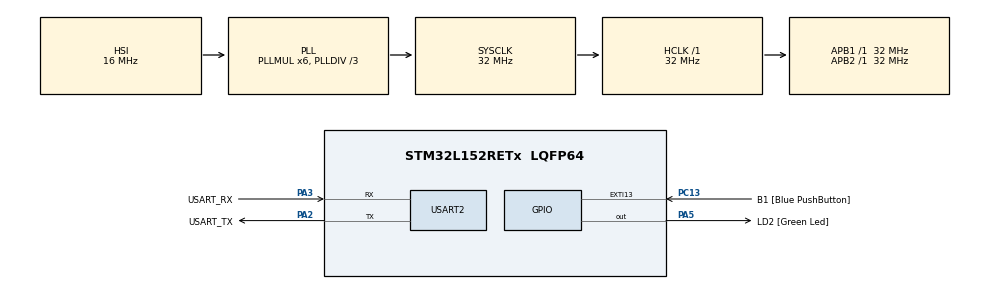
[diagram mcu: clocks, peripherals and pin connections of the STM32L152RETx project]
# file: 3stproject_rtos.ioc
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FREERTOS.Tasks01=defaultTask,0,128,StartDefaultTask,Default,NULL,Dynamic,NULL,NULL
Mcu.Family=STM32L1
Mcu.Name=STM32L152RETx
Mcu.Package=LQFP64
NVIC.PriorityGroup=NVIC_PRIORITYGROUP_4
NVIC.TIM6_IRQn=true\:15\:0\:false\:false\:true\:false\:false\:true\:true
NVIC.TimeBase=TIM6_IRQn
NVIC.TimeBaseIP=TIM6
PA13.GPIO_Label=TMS
PA13.Mode=Serial_Wire
PA13.Signal=SYS_JTMS-SWDIO
PA14.GPIO_Label=TCK
PA14.Mode=Serial_Wire
PA14.Signal=SYS_JTCK-SWCLK
PA2.GPIO_Label=USART_TX
PA2.Mode=Asynchronous
PA2.Signal=USART2_TX
PA3.GPIO_Label=USART_RX
PA3.Mode=Asynchronous
PA3.Signal=USART2_RX
PA5.GPIO_Label=LD2 [Green Led]
PA5.Signal=GPIO_Output
PB3.GPIO_Label=SWO
PB3.Signal=SYS_JTDO-TRACESWO
PC13-WKUP2.GPIO_Label=B1 [Blue PushButton]
PC13-WKUP2.Signal=GPXTI13
PC14-OSC32_IN.Mode=LSE-External-Oscillator
PC14-OSC32_IN.Signal=RCC_OSC32_IN
PC15-OSC32_OUT.Mode=LSE-External-Oscillator
PC15-OSC32_OUT.Signal=RCC_OSC32_OUT
PH0-OSC_IN.Mode=HSE-External-Clock-Source
PH0-OSC_IN.Signal=RCC_OSC_IN
PH1-OSC_OUT.Signal=RCC_OSC_OUT
ProjectManager.HeapSize=0x200
ProjectManager.StackSize=0x400
ProjectManager.TargetToolchain=STM32CubeIDE
RCC.48MHZClocksFreq_Value=48000000
RCC.AHBFreq_Value=32000000
RCC.APB1Freq_Value=32000000
RCC.APB1TimFreq_Value=32000000
RCC.APB2Freq_Value=32000000
RCC.APB2TimFreq_Value=32000000
RCC.HCLKFreq_Value=32000000
RCC.HSE_VALUE=8000000
RCC.HSI_VALUE=16000000
RCC.MSI_VALUE=2097000
RCC.PLLDIV=RCC_PLL_DIV3
RCC.PLLMUL=RCC_PLL_MUL6
RCC.RTCClockSelectionVirtual=RCC_RTCCLKSOURCE_LSE
RCC.SYSCLKFreq_VALUE=32000000
RCC.SYSCLKSource=RCC_SYSCLKSOURCE_PLLCLK
RCC.USBOutput=48000000
RCC.VCOOutputFreq_Value=96000000
USART2.VirtualMode=VM_ASYNC
VP_FREERTOS_VS_CMSIS_V1.Mode=CMSIS_V1
VP_SYS_VS_tim6.Mode=TIM6
board=NUCLEO-L152RE

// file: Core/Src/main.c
/* USER CODE BEGIN Header */
/**
  ******************************************************************************
  * @file           : main.c
  * @brief          : Main program body
  ******************************************************************************
  * @attention
  *
  * <h2><center>&copy; Copyright (c) 2026 STMicroelectronics.
  * All rights reserved.</center></h2>
  *
  * This software component is licensed by ST under BSD 3-Clause license,
  * the "License"; You may not use this file except in compliance with the
  * License. You may obtain a copy of the License at:
  *                        opensource.org/licenses/BSD-3-Clause
  *
  ******************************************************************************
  */
/* USER CODE END Header */
#include "main.h"

/* USER CODE BEGIN Includes */
#include "stdio.h"
#include "freertos.h"
#include "task.h"
#include "semphr.h"

/* USER CODE END Includes */

/* USER CODE BEGIN PD */

#define up	 1
#define down 0

/* USER CODE END PD */

UART_HandleTypeDef huart2;

/* USER CODE BEGIN PV */

TaskHandle_t myTask1Handle = NULL;
TaskHandle_t myTask2Handle = NULL;
TaskHandle_t myTask3Handle = NULL;

SemaphoreHandle_t CriticalResourceSemaphoreHandle;

uint8_t LED_One = 0;
uint8_t LED_Two = 0;
uint8_t LED_Three = 0;

uint8_t sharedDataFlag = up;

int compteur = 0;

/* USER CODE END PV */

void SystemClock_Config(void);
static void MX_GPIO_Init(void);
static void MX_USART2_UART_Init(void);

/* USER CODE BEGIN PFP */
void myTask1(void *);
void myTask2(void *);
void myTask3(void *);

/* USER CODE END PFP */

/* USER CODE BEGIN 0 */
void myTask1(void *p) {
	LED_One = 0;

	while (1) {
		LED_One = 1;
		if (up == sharedDataFlag) {
			xSemaphoreTake(CriticalResourceSemaphoreHandle, portMAX_DELAY);
			sharedDataFlag = down;
			for (int i = 0; i < 1150000; i++);
			sharedDataFlag = up;
			xSemaphoreGive(CriticalResourceSemaphoreHandle);
		}
		LED_One = 0;
		vTaskDelay(500);
	}
}

void myTask2(void *p) {
	LED_Two = 0;

	while (1) {
		LED_Two = 1;
		if (up == sharedDataFlag) {
			xSemaphoreTake(CriticalResourceSemaphoreHandle, portMAX_DELAY);
			sharedDataFlag = down;
			for (int i = 0; i < 1150000; i++);
			sharedDataFlag = up;
			xSemaphoreGive(CriticalResourceSemaphoreHandle);
		}
		LED_Two = 0;
		vTaskDelay(100);
	}
}

void myTask3(void *p) {
	while(1) {
		LED_Three ^= 0x1;
		vTaskDelay(50);
	}
}

/* USER CODE END 0 */

int main(void)
{

  /* MCU Configuration--------------------------------------------------------*/

  /* Reset of all peripherals, Initializes the Flash interface and the Systick. */
  HAL_Init();

  /* Configure the system clock */
  SystemClock_Config();

  /* Initialize all configured peripherals */
  MX_GPIO_Init();
  MX_USART2_UART_Init();

  /* USER CODE BEGIN RTOS_SEMAPHORES */
  /* add semaphores, ... */
  CriticalResourceSemaphoreHandle = xSemaphoreCreateBinary();
  xSemaphoreGive(CriticalResourceSemaphoreHandle);

  /* USER CODE END RTOS_SEMAPHORES */

  /* Create the thread(s) */
  /* definition and creation of task1 */

  /* USER CODE BEGIN RTOS_THREADS */
  /* add threads, ... */

  xTaskCreate(myTask1, "task1", 200, (void *) NULL, 0, &myTask1Handle);
  xTaskCreate(myTask2, "task2", 200, (void *) 0, 0, &myTask2Handle);
  xTaskCreate(myTask3, "task3", 200, (void *) NULL, 0, &myTask3Handle);

  /* USER CODE END RTOS_THREADS */

  /* Start scheduler */
  vTaskStartScheduler();

  /* We should never get here as control is now taken by the scheduler */
  /* Infinite loop */
  while (1)
  {

  }
}

void SystemClock_Config(void)
{
  RCC_OscInitTypeDef RCC_OscInitStruct = {0};
  RCC_ClkInitTypeDef RCC_ClkInitStruct = {0};

  /** Configure the main internal regulator output voltage
  */
  __HAL_PWR_VOLTAGESCALING_CONFIG(PWR_REGULATOR_VOLTAGE_SCALE1);
  /** Initializes the RCC Oscillators according to the specified parameters
  * in the RCC_OscInitTypeDef structure.
  */
  RCC_OscInitStruct.OscillatorType = RCC_OSCILLATORTYPE_HSI;
  RCC_OscInitStruct.HSIState = RCC_HSI_ON;
  RCC_OscInitStruct.HSICalibrationValue = RCC_HSICALIBRATION_DEFAULT;
  RCC_OscInitStruct.PLL.PLLState = RCC_PLL_ON;
  RCC_OscInitStruct.PLL.PLLSource = RCC_PLLSOURCE_HSI;
  RCC_OscInitStruct.PLL.PLLMUL = RCC_PLL_MUL6;
  RCC_OscInitStruct.PLL.PLLDIV = RCC_PLL_DIV3;
  if (HAL_RCC_OscConfig(&RCC_OscInitStruct) != HAL_OK)
  {
    Error_Handler();
  }
  /** Initializes the CPU, AHB and APB buses clocks
  */
  RCC_ClkInitStruct.ClockType = RCC_CLOCKTYPE_HCLK|RCC_CLOCKTYPE_SYSCLK
                              |RCC_CLOCKTYPE_PCLK1|RCC_CLOCKTYPE_PCLK2;
  RCC_ClkInitStruct.SYSCLKSource = RCC_SYSCLKSOURCE_PLLCLK;
  RCC_ClkInitStruct.AHBCLKDivider = RCC_SYSCLK_DIV1;
  RCC_ClkInitStruct.APB1CLKDivider = RCC_HCLK_DIV1;
  RCC_ClkInitStruct.APB2CLKDivider = RCC_HCLK_DIV1;

  if (HAL_RCC_ClockConfig(&RCC_ClkInitStruct, FLASH_LATENCY_1) != HAL_OK)
  {
    Error_Handler();
  }
}

static void MX_USART2_UART_Init(void)
{

  huart2.Instance = USART2;
  huart2.Init.BaudRate = 115200;
  huart2.Init.WordLength = UART_WORDLENGTH_8B;
  huart2.Init.StopBits = UART_STOPBITS_1;
  huart2.Init.Parity = UART_PARITY_NONE;
  huart2.Init.Mode = UART_MODE_TX_RX;
  huart2.Init.HwFlowCtl = UART_HWCONTROL_NONE;
  huart2.Init.OverSampling = UART_OVERSAMPLING_16;
  if (HAL_UART_Init(&huart2) != HAL_OK)
  {
    Error_Handler();
  }

}

static void MX_GPIO_Init(void)
{
  GPIO_InitTypeDef GPIO_InitStruct = {0};

  /* GPIO Ports Clock Enable */
  __HAL_RCC_GPIOC_CLK_ENABLE();
  __HAL_RCC_GPIOH_CLK_ENABLE();
  __HAL_RCC_GPIOA_CLK_ENABLE();
  __HAL_RCC_GPIOB_CLK_ENABLE();

  /*Configure GPIO pin Output Level */
  HAL_GPIO_WritePin(LD2_GPIO_Port, LD2_Pin, GPIO_PIN_RESET);

  /*Configure GPIO pin : B1_Pin */
  GPIO_InitStruct.Pin = B1_Pin;
  GPIO_InitStruct.Mode = GPIO_MODE_IT_RISING;
  GPIO_InitStruct.Pull = GPIO_NOPULL;
  HAL_GPIO_Init(B1_GPIO_Port, &GPIO_InitStruct);

  /*Configure GPIO pin : LD2_Pin */
  GPIO_InitStruct.Pin = LD2_Pin;
  GPIO_InitStruct.Mode = GPIO_MODE_OUTPUT_PP;
  GPIO_InitStruct.Pull = GPIO_NOPULL;
  GPIO_InitStruct.Speed = GPIO_SPEED_FREQ_LOW;
  HAL_GPIO_Init(LD2_GPIO_Port, &GPIO_InitStruct);

}

/* USER CODE BEGIN 4 */
int _write(int file, char *ptr, int len) {
	(void)file;
	int DataIdx;

	for (DataIdx = 0; DataIdx < len; DataIdx++) {
		ITM_SendChar (*ptr++);
	}

	return len;
}

/* USER CODE END 4 */

void HAL_TIM_PeriodElapsedCallback(TIM_HandleTypeDef *htim)
{
  if (htim->Instance == TIM6) {
    HAL_IncTick();
  }
}

void Error_Handler(void)
{
  __disable_irq();
  while (1)
  {
  }
}

/************************ (C) COPYRIGHT STMicroelectronics *****END OF FILE****/
